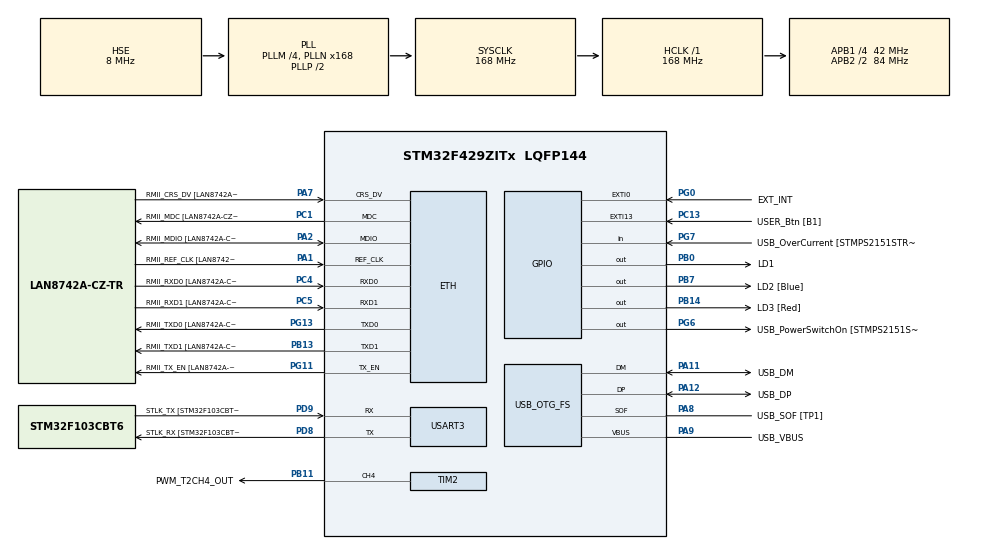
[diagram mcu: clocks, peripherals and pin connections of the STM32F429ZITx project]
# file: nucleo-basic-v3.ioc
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Dma.Request0=USART3_RX
Dma.Request1=USART3_TX
Dma.USART3_RX.0.Direction=DMA_PERIPH_TO_MEMORY
Dma.USART3_RX.0.FIFOMode=DMA_FIFOMODE_DISABLE
Dma.USART3_RX.0.Instance=DMA1_Stream1
Dma.USART3_RX.0.MemDataAlignment=DMA_MDATAALIGN_BYTE
Dma.USART3_RX.0.MemInc=DMA_MINC_ENABLE
Dma.USART3_RX.0.Mode=DMA_NORMAL
Dma.USART3_RX.0.PeriphDataAlignment=DMA_PDATAALIGN_BYTE
Dma.USART3_RX.0.PeriphInc=DMA_PINC_DISABLE
Dma.USART3_RX.0.Priority=DMA_PRIORITY_LOW
Dma.USART3_TX.1.Direction=DMA_MEMORY_TO_PERIPH
Dma.USART3_TX.1.FIFOMode=DMA_FIFOMODE_DISABLE
Dma.USART3_TX.1.Instance=DMA1_Stream3
Dma.USART3_TX.1.MemDataAlignment=DMA_MDATAALIGN_BYTE
Dma.USART3_TX.1.MemInc=DMA_MINC_ENABLE
Dma.USART3_TX.1.Mode=DMA_NORMAL
Dma.USART3_TX.1.PeriphDataAlignment=DMA_PDATAALIGN_BYTE
Dma.USART3_TX.1.PeriphInc=DMA_PINC_DISABLE
Dma.USART3_TX.1.Priority=DMA_PRIORITY_LOW
ETH.MACAddr=00\:80\:E1\:00\:66\:00
ETH.MediaInterface=ETH_MEDIA_INTERFACE_RMII
ETH.PHY_Name=LAN8742A_PHY_ADDRESS
ETH.PHY_Value=0
ETH.PhyAddress=0
FATFS._MAX_LFN=32
FATFS._STRF_ENCODE=0
FATFS._USE_LFN=2
FREERTOS.INCLUDE_uxTaskGetStackHighWaterMark=1
FREERTOS.INCLUDE_vTaskDelayUntil=1
FREERTOS.INCLUDE_xTaskGetCurrentTaskHandle=1
FREERTOS.Tasks01=defaultTask,0,1024,StartDefaultTask,Default,NULL,Dynamic,NULL,NULL
FREERTOS.configTOTAL_HEAP_SIZE=32768
LWIP.Version=v2.0.3_Cube
Mcu.Family=STM32F4
Mcu.Name=STM32F429ZITx
Mcu.Package=LQFP144
NVIC.DMA1_Stream1_IRQn=true\:5\:0\:false\:false\:true\:true\:false
NVIC.DMA1_Stream3_IRQn=true\:5\:0\:false\:false\:true\:true\:false
NVIC.ETH_IRQn=true\:5\:0\:false\:false\:true\:true\:false
NVIC.EXTI0_IRQn=true\:5\:0\:false\:false\:true\:true\:true
NVIC.EXTI15_10_IRQn=true\:5\:0\:false\:false\:true\:true\:true
NVIC.OTG_FS_IRQn=true\:5\:0\:false\:false\:true\:true\:false
NVIC.PriorityGroup=NVIC_PRIORITYGROUP_4
NVIC.TIM6_DAC_IRQn=true\:0\:0\:false\:false\:true\:false\:false
NVIC.TimeBase=TIM6_DAC_IRQn
NVIC.TimeBaseIP=TIM6
NVIC.USART3_IRQn=true\:5\:0\:false\:false\:true\:true\:true
PA1.GPIO_Label=RMII_REF_CLK [LAN8742A-CZ-TR_REFCLK0]
PA1.Mode=RMII
PA1.Signal=ETH_REF_CLK
PA10.GPIO_Label=USB_ID
PA10.Signal=USB_OTG_FS_ID
PA11.GPIO_Label=USB_DM
PA11.Mode=Host_Only
PA11.Signal=USB_OTG_FS_DM
PA12.GPIO_Label=USB_DP
PA12.Mode=Host_Only
PA12.Signal=USB_OTG_FS_DP
PA13.GPIO_Label=TMS
PA13.Mode=Serial_Wire
PA13.Signal=SYS_JTMS-SWDIO
PA14.GPIO_Label=TCK
PA14.Mode=Serial_Wire
PA14.Signal=SYS_JTCK-SWCLK
PA2.GPIO_Label=RMII_MDIO [LAN8742A-CZ-TR_MDIO]
PA2.Mode=RMII
PA2.Signal=ETH_MDIO
PA7.GPIO_Label=RMII_CRS_DV [LAN8742A-CZ-TR_CRS_DV]
PA7.Mode=RMII
PA7.Signal=ETH_CRS_DV
PA8.GPIO_Label=USB_SOF [TP1]
PA8.Mode=Activate_SOF_FS
PA8.Signal=USB_OTG_FS_SOF
PA9.GPIO_Label=USB_VBUS
PA9.Mode=Activate_VBUS
PA9.Signal=USB_OTG_FS_VBUS
PB0.GPIO_Label=LD1
PB0.Signal=GPIO_Output
PB11.GPIO_Label=PWM_T2CH4_OUT
PB11.Signal=S_TIM2_CH4
PB13.GPIO_Label=RMII_TXD1 [LAN8742A-CZ-TR_TXD1]
PB13.Mode=RMII
PB13.Signal=ETH_TXD1
PB14.GPIO_Label=LD3 [Red]
PB14.Signal=GPIO_Output
PB7.GPIO_Label=LD2 [Blue]
PB7.Signal=GPIO_Output
PC1.GPIO_Label=RMII_MDC [LAN8742A-CZ-TR_MDC]
PC1.Mode=RMII
PC1.Signal=ETH_MDC
PC13.GPIO_Label=USER_Btn [B1]
PC13.Signal=GPXTI13
PC14/OSC32_IN.Mode=LSE-External-Oscillator
PC14/OSC32_IN.Signal=RCC_OSC32_IN
PC15/OSC32_OUT.Mode=LSE-External-Oscillator
PC15/OSC32_OUT.Signal=RCC_OSC32_OUT
PC4.GPIO_Label=RMII_RXD0 [LAN8742A-CZ-TR_RXD0]
PC4.Mode=RMII
PC4.Signal=ETH_RXD0
PC5.GPIO_Label=RMII_RXD1 [LAN8742A-CZ-TR_RXD1]
PC5.Mode=RMII
PC5.Signal=ETH_RXD1
PD8.GPIO_Label=STLK_RX [STM32F103CBT6_PA3]
PD8.Mode=Asynchronous
PD8.Signal=USART3_TX
PD9.GPIO_Label=STLK_TX [STM32F103CBT6_PA2]
PD9.Mode=Asynchronous
PD9.Signal=USART3_RX
PG0.GPIO_Label=EXT_INT
PG0.GPIO_ModeDefaultEXTI=GPIO_MODE_IT_FALLING
PG0.GPIO_PuPd=GPIO_PULLUP
PG0.Signal=GPXTI0
PG11.GPIO_Label=RMII_TX_EN [LAN8742A-CZ-TR_TXEN]
PG11.Mode=RMII
PG11.Signal=ETH_TX_EN
PG13.GPIO_Label=RMII_TXD0 [LAN8742A-CZ-TR_TXD0]
PG13.Mode=RMII
PG13.Signal=ETH_TXD0
PG6.GPIO_Label=USB_PowerSwitchOn [STMPS2151STR_EN]
PG6.Signal=GPIO_Output
PG7.GPIO_Label=USB_OverCurrent [STMPS2151STR_FAULT]
PG7.Signal=GPIO_Input
PH0/OSC_IN.GPIO_Label=MCO [STM32F103CBT6_PA8]
PH0/OSC_IN.Mode=HSE-External-Clock-Source
PH0/OSC_IN.Signal=RCC_OSC_IN
PH1/OSC_OUT.Mode=HSE-External-Clock-Source
PH1/OSC_OUT.Signal=RCC_OSC_OUT
ProjectManager.HeapSize=0x200
ProjectManager.StackSize=0x400
ProjectManager.TargetToolchain=TrueSTUDIO
RCC.48MHZClocksFreq_Value=48000000
RCC.AHBFreq_Value=168000000
RCC.APB1CLKDivider=RCC_HCLK_DIV4
RCC.APB1Freq_Value=42000000
RCC.APB1TimFreq_Value=84000000
RCC.APB2CLKDivider=RCC_HCLK_DIV2
RCC.APB2Freq_Value=84000000
RCC.APB2TimCLKDivider=2
RCC.APB2TimFreq_Value=168000000
RCC.CortexFreq_Value=168000000
RCC.HCLKFreq_Value=168000000
RCC.HSE_VALUE=8000000
RCC.HSI_VALUE=16000000
RCC.PLLM=4
RCC.PLLMUL=RCC_PLL_MUL9
RCC.PLLN=168
RCC.PLLQ=7
RCC.PRESCALERUSB=RCC_USBCLKSOURCE_PLL_DIV1_5
RCC.SYSCLKFreq_VALUE=168000000
RCC.SYSCLKSource=RCC_SYSCLKSOURCE_PLLCLK
RCC.SYSCLKSourceVirtual=RCC_SYSCLKSOURCE_PLLCLK
RCC.USBFreq_Value=48000000
RCC.VCOOutputFreq_Value=336000000
SH.S_TIM2_CH4.0=TIM2_CH4,PWM Generation4 CH4
TIM2.Channel-PWM\ Generation4\ CH4=TIM_CHANNEL_4
TIM2.ClockDivision=TIM_CLOCKDIVISION_DIV4
TIM2.Period=16000
TIM2.Prescaler=42000
TIM2.Pulse-PWM\ Generation4\ CH4=3000
USART3.VirtualMode=VM_ASYNC
USB_HOST.BSP.number=1
USB_HOST.USBH_DEBUG_LEVEL-MSC_FS=3
USB_HOST.USBH_HandleTypeDef-MSC_FS=hUsbHostFS
USB_HOST.VirtualModeFS=Msc
USB_HOST0.BSP.STBoard=false
USB_HOST0.BSP.api=Unknown
USB_HOST0.BSP.i2caddr=0
USB_HOST0.BSP.instance=PG6
USB_HOST0.BSP.ip=GPIO
USB_HOST0.BSP.mode=Output
USB_HOST0.BSP.name=Drive_VBUS_FS
USB_HOST0.BSP.solution=PG6
USB_OTG_FS.VirtualMode=Host_Only
USB_OTG_FS.phy_itface=HCD_PHY_EMBEDDED
VP_FATFS_VS_USB.Mode=USB
VP_FREERTOS_VS_ENABLE.Mode=Enabled
VP_LWIP_VS_Enabled.Mode=Enabled
VP_SYS_VS_tim6.Mode=TIM6
VP_USB_HOST_VS_USB_HOST_MSC_FS.Mode=MSC_FS
board=NUCLEO-F429ZI

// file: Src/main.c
/**
  ******************************************************************************
  * @file           : main.c
  * @brief          : Main program body
  ******************************************************************************
  * This notice applies to any and all portions of this file
  * that are not between comment pairs USER CODE BEGIN and
  * USER CODE END. Other portions of this file, whether
  * inserted by the user or by software development tools
  * are owned by their respective copyright owners.
  *
  * Copyright (c) 2020 STMicroelectronics International N.V.
  * All rights reserved.
  *
  * Redistribution and use in source and binary forms, with or without
  * modification, are permitted, provided that the following conditions are met:
  *
  * 1. Redistribution of source code must retain the above copyright notice,
  *    this list of conditions and the following disclaimer.
  * 2. Redistributions in binary form must reproduce the above copyright notice,
  *    this list of conditions and the following disclaimer in the documentation
  *    and/or other materials provided with the distribution.
  * 3. Neither the name of STMicroelectronics nor the names of other
  *    contributors to this software may be used to endorse or promote products
  *    derived from this software without specific written permission.
  * 4. This software, including modifications and/or derivative works of this
  *    software, must execute solely and exclusively on microcontroller or
  *    microprocessor devices manufactured by or for STMicroelectronics.
  * 5. Redistribution and use of this software other than as permitted under
  *    this license is void and will automatically terminate your rights under
  *    this license.
  *
  * THIS SOFTWARE IS PROVIDED BY STMICROELECTRONICS AND CONTRIBUTORS "AS IS"
  * AND ANY EXPRESS, IMPLIED OR STATUTORY WARRANTIES, INCLUDING, BUT NOT
  * LIMITED TO, THE IMPLIED WARRANTIES OF MERCHANTABILITY, FITNESS FOR A
  * PARTICULAR PURPOSE AND NON-INFRINGEMENT OF THIRD PARTY INTELLECTUAL PROPERTY
  * RIGHTS ARE DISCLAIMED TO THE FULLEST EXTENT PERMITTED BY LAW. IN NO EVENT
  * SHALL STMICROELECTRONICS OR CONTRIBUTORS BE LIABLE FOR ANY DIRECT, INDIRECT,
  * INCIDENTAL, SPECIAL, EXEMPLARY, OR CONSEQUENTIAL DAMAGES (INCLUDING, BUT NOT
  * LIMITED TO, PROCUREMENT OF SUBSTITUTE GOODS OR SERVICES; LOSS OF USE, DATA,
  * OR PROFITS; OR BUSINESS INTERRUPTION) HOWEVER CAUSED AND ON ANY THEORY OF
  * LIABILITY, WHETHER IN CONTRACT, STRICT LIABILITY, OR TORT (INCLUDING
  * NEGLIGENCE OR OTHERWISE) ARISING IN ANY WAY OUT OF THE USE OF THIS SOFTWARE,
  * EVEN IF ADVISED OF THE POSSIBILITY OF SUCH DAMAGE.
  *
  ******************************************************************************
  */
#include "main.h"
#include "stm32f4xx_hal.h"
#include "cmsis_os.h"
#include "fatfs.h"
#include "lwip.h"
#include "usb_host.h"

/* USER CODE BEGIN Includes */
#include "dbgu.h"
#include "term_io.h"
#include "ansi.h"

#include "FreeRTOS.h"
#include "task.h"
#include "queue.h"

/* USER CODE END Includes */

TIM_HandleTypeDef htim2;

UART_HandleTypeDef huart3;
DMA_HandleTypeDef hdma_usart3_rx;
DMA_HandleTypeDef hdma_usart3_tx;

osThreadId defaultTaskHandle;

/* USER CODE BEGIN PV */
/* Private variables ---------------------------------------------------------*/
xTaskHandle taskMessageHandler;
xQueueHandle loopQueue;
xSemaphoreHandle labSemaphore;

/* USER CODE END PV */

void SystemClock_Config(void);
static void MX_GPIO_Init(void);
static void MX_DMA_Init(void);
static void MX_USART3_UART_Init(void);
static void MX_TIM2_Init(void);
void StartDefaultTask(void const * argument);
void HAL_TIM_MspPostInit(TIM_HandleTypeDef *htim);

/* USER CODE BEGIN PFP */
/* Private function prototypes -----------------------------------------------*/

/* USER CODE END PFP */

/* USER CODE BEGIN 0 */
#define FREERTOS_LAB 1

xTaskHandle taskMessageHandler;
xQueueHandle loopQueue;
xSemaphoreHandle sem_EXTI;

/* USER CODE END 0 */

int main(void)
{

  /* MCU Configuration----------------------------------------------------------*/

  /* Reset of all peripherals, Initializes the Flash interface and the Systick. */
  HAL_Init();

  /* Configure the system clock */
  SystemClock_Config();

  /* Initialize all configured peripherals */
  MX_GPIO_Init();
  MX_DMA_Init();
  MX_USART3_UART_Init();
  MX_TIM2_Init();
  /* USER CODE BEGIN 2 */
  debug_init(&huart3);
  xprintf(ANSI_BG_MAGENTA "\nNucleo-144 F429ZI nucleo-basic-v3 project" ANSI_BG_DEFAULT "\n");
  xprintf(ANSI_FG_YELLOW "Funkcja xprintf dziala." ANSI_FG_DEFAULT "\n");
  printf(ANSI_FG_GREEN "Funkcja printf tez dziala." ANSI_FG_DEFAULT "\n");

  /* USER CODE END 2 */

  /* Create the thread(s) */
  /* definition and creation of defaultTask */
  osThreadDef(defaultTask, StartDefaultTask, osPriorityNormal, 0, 1024);
  defaultTaskHandle = osThreadCreate(osThread(defaultTask), NULL);

  /* Start scheduler */
  osKernelStart();

  /* We should never get here as control is now taken by the scheduler */

  /* Infinite loop */
  while (1)
  {

  }

}

void SystemClock_Config(void)
{

  RCC_OscInitTypeDef RCC_OscInitStruct;
  RCC_ClkInitTypeDef RCC_ClkInitStruct;

    /**Configure the main internal regulator output voltage
    */
  __HAL_RCC_PWR_CLK_ENABLE();

  __HAL_PWR_VOLTAGESCALING_CONFIG(PWR_REGULATOR_VOLTAGE_SCALE1);

    /**Initializes the CPU, AHB and APB busses clocks
    */
  RCC_OscInitStruct.OscillatorType = RCC_OSCILLATORTYPE_HSE;
  RCC_OscInitStruct.HSEState = RCC_HSE_BYPASS;
  RCC_OscInitStruct.PLL.PLLState = RCC_PLL_ON;
  RCC_OscInitStruct.PLL.PLLSource = RCC_PLLSOURCE_HSE;
  RCC_OscInitStruct.PLL.PLLM = 4;
  RCC_OscInitStruct.PLL.PLLN = 168;
  RCC_OscInitStruct.PLL.PLLP = RCC_PLLP_DIV2;
  RCC_OscInitStruct.PLL.PLLQ = 7;
  if (HAL_RCC_OscConfig(&RCC_OscInitStruct) != HAL_OK)
  {
    _Error_Handler(__FILE__, __LINE__);
  }

    /**Initializes the CPU, AHB and APB busses clocks
    */
  RCC_ClkInitStruct.ClockType = RCC_CLOCKTYPE_HCLK|RCC_CLOCKTYPE_SYSCLK
                              |RCC_CLOCKTYPE_PCLK1|RCC_CLOCKTYPE_PCLK2;
  RCC_ClkInitStruct.SYSCLKSource = RCC_SYSCLKSOURCE_PLLCLK;
  RCC_ClkInitStruct.AHBCLKDivider = RCC_SYSCLK_DIV1;
  RCC_ClkInitStruct.APB1CLKDivider = RCC_HCLK_DIV4;
  RCC_ClkInitStruct.APB2CLKDivider = RCC_HCLK_DIV2;

  if (HAL_RCC_ClockConfig(&RCC_ClkInitStruct, FLASH_LATENCY_5) != HAL_OK)
  {
    _Error_Handler(__FILE__, __LINE__);
  }

    /**Configure the Systick interrupt time
    */
  HAL_SYSTICK_Config(HAL_RCC_GetHCLKFreq()/1000);

    /**Configure the Systick
    */
  HAL_SYSTICK_CLKSourceConfig(SYSTICK_CLKSOURCE_HCLK);

  /* SysTick_IRQn interrupt configuration */
  HAL_NVIC_SetPriority(SysTick_IRQn, 15, 0);
}

/* TIM2 init function */
static void MX_TIM2_Init(void)
{

  TIM_MasterConfigTypeDef sMasterConfig;
  TIM_OC_InitTypeDef sConfigOC;

  htim2.Instance = TIM2;
  htim2.Init.Prescaler = 42000;
  htim2.Init.CounterMode = TIM_COUNTERMODE_UP;
  htim2.Init.Period = 16000;
  htim2.Init.ClockDivision = TIM_CLOCKDIVISION_DIV4;
  if (HAL_TIM_PWM_Init(&htim2) != HAL_OK)
  {
    _Error_Handler(__FILE__, __LINE__);
  }

  sMasterConfig.MasterOutputTrigger = TIM_TRGO_RESET;
  sMasterConfig.MasterSlaveMode = TIM_MASTERSLAVEMODE_DISABLE;
  if (HAL_TIMEx_MasterConfigSynchronization(&htim2, &sMasterConfig) != HAL_OK)
  {
    _Error_Handler(__FILE__, __LINE__);
  }

  sConfigOC.OCMode = TIM_OCMODE_PWM1;
  sConfigOC.Pulse = 3000;
  sConfigOC.OCPolarity = TIM_OCPOLARITY_HIGH;
  sConfigOC.OCFastMode = TIM_OCFAST_DISABLE;
  if (HAL_TIM_PWM_ConfigChannel(&htim2, &sConfigOC, TIM_CHANNEL_4) != HAL_OK)
  {
    _Error_Handler(__FILE__, __LINE__);
  }

  HAL_TIM_MspPostInit(&htim2);

}

/* USART3 init function */
static void MX_USART3_UART_Init(void)
{

  huart3.Instance = USART3;
  huart3.Init.BaudRate = 115200;
  huart3.Init.WordLength = UART_WORDLENGTH_8B;
  huart3.Init.StopBits = UART_STOPBITS_1;
  huart3.Init.Parity = UART_PARITY_NONE;
  huart3.Init.Mode = UART_MODE_TX_RX;
  huart3.Init.HwFlowCtl = UART_HWCONTROL_NONE;
  huart3.Init.OverSampling = UART_OVERSAMPLING_16;
  if (HAL_UART_Init(&huart3) != HAL_OK)
  {
    _Error_Handler(__FILE__, __LINE__);
  }

}

static void MX_DMA_Init(void)
{
  /* DMA controller clock enable */
  __HAL_RCC_DMA1_CLK_ENABLE();

  /* DMA interrupt init */
  /* DMA1_Stream1_IRQn interrupt configuration */
  HAL_NVIC_SetPriority(DMA1_Stream1_IRQn, 5, 0);
  HAL_NVIC_EnableIRQ(DMA1_Stream1_IRQn);
  /* DMA1_Stream3_IRQn interrupt configuration */
  HAL_NVIC_SetPriority(DMA1_Stream3_IRQn, 5, 0);
  HAL_NVIC_EnableIRQ(DMA1_Stream3_IRQn);

}

/** Configure pins as
        * Analog
        * Input
        * Output
        * EVENT_OUT
        * EXTI
*/
static void MX_GPIO_Init(void)
{

  GPIO_InitTypeDef GPIO_InitStruct;

  /* GPIO Ports Clock Enable */
  __HAL_RCC_GPIOC_CLK_ENABLE();
  __HAL_RCC_GPIOH_CLK_ENABLE();
  __HAL_RCC_GPIOA_CLK_ENABLE();
  __HAL_RCC_GPIOB_CLK_ENABLE();
  __HAL_RCC_GPIOG_CLK_ENABLE();
  __HAL_RCC_GPIOD_CLK_ENABLE();

  /*Configure GPIO pin Output Level */
  HAL_GPIO_WritePin(GPIOB, LD1_Pin|LD3_Pin|LD2_Pin, GPIO_PIN_RESET);

  /*Configure GPIO pin Output Level */
  HAL_GPIO_WritePin(USB_PowerSwitchOn_GPIO_Port, USB_PowerSwitchOn_Pin, GPIO_PIN_RESET);

  /*Configure GPIO pin : USER_Btn_Pin */
  GPIO_InitStruct.Pin = USER_Btn_Pin;
  GPIO_InitStruct.Mode = GPIO_MODE_IT_RISING;
  GPIO_InitStruct.Pull = GPIO_NOPULL;
  HAL_GPIO_Init(USER_Btn_GPIO_Port, &GPIO_InitStruct);

  /*Configure GPIO pins : LD1_Pin LD3_Pin LD2_Pin */
  GPIO_InitStruct.Pin = LD1_Pin|LD3_Pin|LD2_Pin;
  GPIO_InitStruct.Mode = GPIO_MODE_OUTPUT_PP;
  GPIO_InitStruct.Pull = GPIO_NOPULL;
  GPIO_InitStruct.Speed = GPIO_SPEED_FREQ_LOW;
  HAL_GPIO_Init(GPIOB, &GPIO_InitStruct);

  /*Configure GPIO pin : EXT_INT_Pin */
  GPIO_InitStruct.Pin = EXT_INT_Pin;
  GPIO_InitStruct.Mode = GPIO_MODE_IT_FALLING;
  GPIO_InitStruct.Pull = GPIO_PULLUP;
  HAL_GPIO_Init(EXT_INT_GPIO_Port, &GPIO_InitStruct);

  /*Configure GPIO pin : USB_PowerSwitchOn_Pin */
  GPIO_InitStruct.Pin = USB_PowerSwitchOn_Pin;
  GPIO_InitStruct.Mode = GPIO_MODE_OUTPUT_PP;
  GPIO_InitStruct.Pull = GPIO_NOPULL;
  GPIO_InitStruct.Speed = GPIO_SPEED_FREQ_LOW;
  HAL_GPIO_Init(USB_PowerSwitchOn_GPIO_Port, &GPIO_InitStruct);

  /*Configure GPIO pin : USB_OverCurrent_Pin */
  GPIO_InitStruct.Pin = USB_OverCurrent_Pin;
  GPIO_InitStruct.Mode = GPIO_MODE_INPUT;
  GPIO_InitStruct.Pull = GPIO_NOPULL;
  HAL_GPIO_Init(USB_OverCurrent_GPIO_Port, &GPIO_InitStruct);

  /* EXTI interrupt init*/
  HAL_NVIC_SetPriority(EXTI0_IRQn, 5, 0);
  HAL_NVIC_EnableIRQ(EXTI0_IRQn);

  HAL_NVIC_SetPriority(EXTI15_10_IRQn, 5, 0);
  HAL_NVIC_EnableIRQ(EXTI15_10_IRQn);

}

/* USER CODE BEGIN 4 */

static void ledTask(void* p)
{
  while(1)
  {
	xprintf("waiting for sem_EXTI...\n");
	xSemaphoreTake(sem_EXTI,portMAX_DELAY);
	xprintf("sem_EXTI has been set :)\n");

	HAL_GPIO_WritePin(LD2_GPIO_Port,LD2_Pin,GPIO_PIN_SET);
    vTaskDelay(500);
	HAL_GPIO_WritePin(LD2_GPIO_Port,LD2_Pin,GPIO_PIN_RESET);
    vTaskDelay(850);

  }
}

static void messageTask(void* p)
{
  portTickType xLastWakeTime;
  xLastWakeTime = xTaskGetTickCount(); //pobieramy aktualny czas

  while(1)
  {
    vTaskDelayUntil( &xLastWakeTime, 1000 );
    xprintf("Current systime is: %05d\n",(int)xTaskGetTickCount());
    HAL_GPIO_TogglePin(LD3_GPIO_Port,LD3_Pin);

	char key;
	if(xQueueReceive(loopQueue,&key,0))
	{
	  xprintf("Z kolejki loopQueue odebrano znak: %c\n",key);
	}

  }

}

/* USER CODE END 4 */

/* StartDefaultTask function */
void StartDefaultTask(void const * argument)
{
  /* init code for USB_HOST */
  MX_USB_HOST_Init();

  /* init code for FATFS */
  MX_FATFS_Init();

  /* init code for LWIP */
  MX_LWIP_Init();

  /* USER CODE BEGIN 5 */
  HAL_TIM_PWM_Start(&htim2,TIM_CHANNEL_4);
  /*
   * ================================================
   * This is a nice place to create additional tasks,
   * queues, and semaphores for this lab exercise :)
   * ================================================
   */
	xprintf("creating additional tasks, queues, and semphrs...\n");

	loopQueue = xQueueCreate(20,sizeof(char));
	if(loopQueue==NULL) xprintf("Error: loopQueue is NULL\n");

	sem_EXTI = xSemaphoreCreateBinary();

	if(sem_EXTI==NULL) xprintf("Error: sem_EXTI not created\n");

	xSemaphoreTake(sem_EXTI,0);

	xTaskCreate( ledTask, NULL, configMINIMAL_STACK_SIZE+32 , NULL, 3, NULL );
	xTaskCreate( messageTask, NULL, configMINIMAL_STACK_SIZE+32 , NULL, 1, &taskMessageHandler );

	xprintf("entering StartDefaultTask main loop");
	xprintf("\n");

	while(1)
	{
	  HAL_GPIO_TogglePin(LD1_GPIO_Port,LD1_Pin);
	  vTaskDelay(200);
	}

  #if FREERTOS_LAB==0

	  /* Infinite loop */
	  for(;;)
	  {
		//LD3 zmieni stan (toggle)
		HAL_GPIO_TogglePin(LD3_GPIO_Port,LD3_Pin);

		//LD2 wlaczona, czekamy 250 tickow i wylaczamy
		HAL_GPIO_WritePin(LD2_GPIO_Port,LD2_Pin,GPIO_PIN_SET);
		osDelay(250);
		HAL_GPIO_WritePin(LD2_GPIO_Port,LD2_Pin,GPIO_PIN_RESET);
		osDelay(250);
	  }
  #endif

  /* USER CODE END 5 */
}

void HAL_TIM_PeriodElapsedCallback(TIM_HandleTypeDef *htim)
{
  if (htim->Instance == TIM6) {
    HAL_IncTick();
  }
}

void _Error_Handler(char *file, int line)
{
  while(1)
  {
  }
}

/************************ (C) COPYRIGHT STMicroelectronics *****END OF FILE****/
